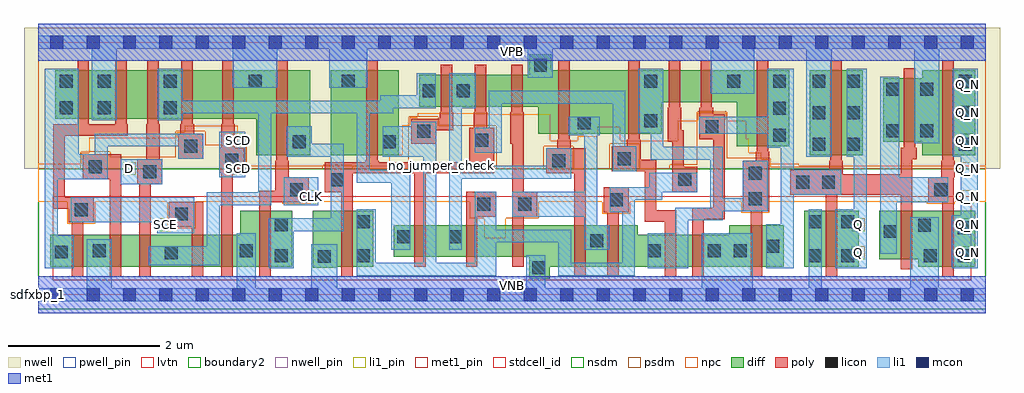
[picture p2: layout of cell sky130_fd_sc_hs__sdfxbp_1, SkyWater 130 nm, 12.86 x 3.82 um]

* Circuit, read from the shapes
.subckt sky130_fd_sc_hs__sdfxbp_1 CLK D Q Q_N SCD SCE VGND VNB VPB VPWR
XM1 VGND SCE n1 VNB sky130_fd_pr__nfet_01v8_lvt w=0.42 l=0.15
XM2 n2 n1 VGND VNB sky130_fd_pr__nfet_01v8_lvt w=0.42 l=0.15
XM3 n3 D n2 VNB sky130_fd_pr__nfet_01v8_lvt w=0.42 l=0.15
XM4 n4 SCE n3 VNB sky130_fd_pr__nfet_01v8_lvt w=0.42 l=0.15
XM5 VGND SCD n4 VNB sky130_fd_pr__nfet_01v8_lvt w=0.42 l=0.15
XM6 n5 CLK VGND VNB sky130_fd_pr__nfet_01v8_lvt w=0.74 l=0.15
XM7 n6 n5 VGND VNB sky130_fd_pr__nfet_01v8_lvt w=0.74 l=0.15
XM8 n7 n5 n3 VNB sky130_fd_pr__nfet_01v8_lvt w=0.42 l=0.15
XM9 n8 n6 n7 VNB sky130_fd_pr__nfet_01v8_lvt w=0.42 l=0.15
XM10 VGND n9 n8 VNB sky130_fd_pr__nfet_01v8_lvt w=0.42 l=0.15
XM11 n9 n7 VGND VNB sky130_fd_pr__nfet_01v8_lvt w=0.55 l=0.15
XM12 n10 n6 n9 VNB sky130_fd_pr__nfet_01v8_lvt w=0.55 l=0.15
XM13 n11 n5 n10 VNB sky130_fd_pr__nfet_01v8_lvt w=0.42 l=0.15
XM14 VGND n12 n11 VNB sky130_fd_pr__nfet_01v8_lvt w=0.42 l=0.15
XM15 n12 n10 VGND VNB sky130_fd_pr__nfet_01v8_lvt w=0.55 l=0.15
XM16 Q n12 VGND VNB sky130_fd_pr__nfet_01v8_lvt w=0.74 l=0.15
XM17 VGND n12 n13 VNB sky130_fd_pr__nfet_01v8_lvt w=0.64 l=0.15
XM18 Q_N n13 VGND VNB sky130_fd_pr__nfet_01v8_lvt w=0.74 l=0.15
XM19 VPWR SCE n1 VPB sky130_fd_pr__pfet_01v8 w=0.64 l=0.15
XM20 n14 SCE VPWR VPB sky130_fd_pr__pfet_01v8 w=0.64 l=0.15
XM21 n3 D n14 VPB sky130_fd_pr__pfet_01v8 w=0.64 l=0.15
XM22 n15 n1 n3 VPB sky130_fd_pr__pfet_01v8 w=0.64 l=0.15
XM23 VPWR SCD n15 VPB sky130_fd_pr__pfet_01v8 w=0.64 l=0.15
XM24 n5 CLK VPWR VPB sky130_fd_pr__pfet_01v8 w=1.12 l=0.15
XM25 n6 n5 VPWR VPB sky130_fd_pr__pfet_01v8 w=1.12 l=0.15
XM26 n7 n6 n3 VPB sky130_fd_pr__pfet_01v8 w=0.42 l=0.15
XM27 n16 n5 n7 VPB sky130_fd_pr__pfet_01v8 w=0.42 l=0.15
XM28 VPWR n9 n16 VPB sky130_fd_pr__pfet_01v8 w=0.42 l=0.15
XM29 n9 n7 VPWR VPB sky130_fd_pr__pfet_01v8 w=0.84 l=0.15
XM30 n10 n5 n9 VPB sky130_fd_pr__pfet_01v8 w=0.84 l=0.15
XM31 n17 n6 n10 VPB sky130_fd_pr__pfet_01v8 w=0.42 l=0.15
XM32 VPWR n12 n17 VPB sky130_fd_pr__pfet_01v8 w=0.42 l=0.15
XM33 n12 n10 VPWR VPB sky130_fd_pr__pfet_01v8 w=1 l=0.15
XM34 Q n12 VPWR VPB sky130_fd_pr__pfet_01v8 w=1.12 l=0.15
XM35 VPWR n12 n13 VPB sky130_fd_pr__pfet_01v8 w=0.84 l=0.15
XM36 Q_N n13 VPWR VPB sky130_fd_pr__pfet_01v8 w=1.12 l=0.15
.ends

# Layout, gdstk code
import gdstk
lib = gdstk.Library(unit=1e-6, precision=1e-09)
def R(c, l, rs):  # rectangles x0, y0, x1, y1
    for r in rs: c.add(gdstk.rectangle(r[:2], r[2:], *l))
def A(c, l, x, y, w, h, nx, ny, dx, dy):  # array of equal rectangles
    R(c, l, [(x+i*dx, y+j*dy, x+i*dx+w, y+j*dy+h) for i in range(nx) for j in range(ny)])
def P(c, l, *ps):  # polygons
    for p in ps: c.add(gdstk.Polygon(p, *l))
nwell_pin = (64, 16)
nwell = (64, 20)
diff = (65, 20)
poly = (66, 20)
licon = (66, 44)
li1_pin = (67, 16)
li1 = (67, 20)
mcon = (67, 44)
met1_pin = (68, 16)
met1 = (68, 20)
stdcell_id = (81, 4)
nsdm = (93, 44)
psdm = (94, 20)
npc = (95, 20)
pwell_pin = (122, 16)
lvtn = (125, 44)
boundary2 = (236, 0)

sky130_fd_sc_hs__sdfxbp_ = lib.new_cell('sky130_fd_sc_hs__sdfxbp_1')
R(sky130_fd_sc_hs__sdfxbp_, nwell_pin, [(0,3.085,12.48,3.33)])
R(sky130_fd_sc_hs__sdfxbp_, nwell, [(-0.19,1.66,12.67,3.52)])
R(sky130_fd_sc_hs__sdfxbp_, diff, [(10.09,0.37,10.81,1.11), (3.85,1.84,4.75,2.96), (10.16,1.84,10.86,2.96)])
P(sky130_fd_sc_hs__sdfxbp_, diff, [(3.345,1.11),(2.66,1.11),(2.66,0.79),(0.155,0.79),(0.155,0.37),(3.345,0.37)],
  [(3.58,2.96),(0.22,2.96),(0.22,2.32),(2.87,2.32),(2.87,1.84),(3.58,1.84)],
  [(4.41,1.11),(3.615,1.11),(3.615,0.36),(3.915,0.36),(3.915,0.37),(4.41,0.37)],
  [(9.82,0.92),(9.1,0.92),(9.1,0.79),(7.895,0.79),(7.895,0.92),(4.68,0.92),(4.68,0.5),(6.47,0.5),(6.47,0.21),(6.74,0.21),(6.74,0.37),(9.82,0.37)],
  [(9.89,2.96),(6.76,2.96),(6.76,3.17),(6.47,3.17),(6.47,2.9),(5.02,2.9),(5.02,2.48),(6.585,2.48),(6.585,2.12),(8.215,2.12),(8.215,2.54),(9.2,2.54),(9.2,1.96),(9.89,1.96)],
  [(12.345,2.96),(11.645,2.96),(11.645,2.855),(11.13,2.855),(11.13,2.015),(11.645,2.015),(11.645,1.84),(12.345,1.84)],
  [(12.345,1.11),(11.08,1.11),(11.08,0.47),(11.59,0.47),(11.59,0.37),(12.345,0.37)])
P(sky130_fd_sc_hs__sdfxbp_, poly, [(12.075,1.765),(12.06,1.765),(12.06,3.09),(11.91,3.09),(11.91,1.765),(11.895,1.765),(11.895,1.55),(11.725,1.55),(11.725,1.22),(11.91,1.22),(11.91,0.24),(12.06,0.24),(12.06,1.55),(12.075,1.55)],
  [(11.57,1.94),(11.555,1.94),(11.555,2.985),(11.405,2.985),(11.405,1.94),(11.365,1.94),(11.365,1.59),(10.6,1.59),(10.6,1.765),(10.585,1.765),(10.585,3.09),(10.435,3.09),(10.435,1.765),(10.42,1.765),(10.42,1.65),(9.905,1.65),(9.905,1.32),(10.375,1.32),(10.375,0.24),(10.525,0.24),(10.525,1.32),(11.365,1.32),(11.365,0.34),(11.515,0.34),(11.515,1.79),(11.57,1.79)],
  [(9.63,1.885),(9.615,1.885),(9.615,3.09),(9.465,3.09),(9.465,1.885),(9.45,1.885),(9.45,1.77),(9.28,1.77),(9.28,1.1),(9.385,1.1),(9.385,0.24),(9.535,0.24),(9.535,1.1),(9.63,1.1)],
  [(9.04,2.38),(8.89,2.38),(8.89,2.465),(8.875,2.465),(8.875,3.09),(8.725,3.09),(8.725,2.465),(8.71,2.465),(8.71,2.05),(8.89,2.05),(8.89,1.145),(8.615,1.145),(8.615,0.24),(8.765,0.24),(8.765,0.995),(9.04,0.995)],
  [(8.68,1.685),(8.5,1.685),(8.5,2.17),(8.47,2.17),(8.47,2.465),(8.455,2.465),(8.455,3.09),(8.305,3.09),(8.305,2.465),(8.29,2.465),(8.29,2.02),(8.35,2.02),(8.35,1.355),(8.68,1.355)],
  [(8.405,1.115),(8.14,1.115),(8.14,1.78),(7.935,1.78),(7.935,2.045),(7.92,2.045),(7.92,3.09),(7.77,3.09),(7.77,2.045),(7.755,2.045),(7.755,1.96),(7.555,1.96),(7.555,1.63),(7.99,1.63),(7.99,0.965),(8.255,0.965),(8.255,0.24),(8.405,0.24)],
  [(7.78,1.42),(7.45,1.42),(7.45,1.09),(7.495,1.09),(7.495,0.24),(7.645,0.24),(7.645,1.09),(7.78,1.09)],
  [(7.21,1.93),(7.015,1.93),(7.015,2.045),(7,2.045),(7,3.09),(6.85,3.09),(6.85,2.045),(6.835,2.045),(6.835,1.93),(6.69,1.93),(6.69,1.6),(7.06,1.6),(7.06,0.24),(7.21,0.24)],
  [(6.575,1.36),(6.395,1.36),(6.395,2.405),(6.38,2.405),(6.38,3.03),(6.23,3.03),(6.23,2.405),(6.215,2.405),(6.215,1.99),(6.245,1.99),(6.245,0.37),(6.395,0.37),(6.395,1.03),(6.575,1.03)],
  [(6.035,1.36),(5.635,1.36),(5.635,0.37),(5.785,0.37),(5.785,1.03),(6.035,1.03)],
  [(6.005,2.2),(5.915,2.2),(5.915,2.405),(5.9,2.405),(5.9,3.03),(5.75,3.03),(5.75,2.405),(5.735,2.405),(5.735,2.2),(5.675,2.2),(5.675,1.75),(4.485,1.75),(4.485,1.765),(4.47,1.765),(4.47,3.09),(4.32,3.09),(4.32,1.765),(4.305,1.765),(4.305,1.75),(3.775,1.75),(3.775,1.35),(3.99,1.35),(3.99,0.24),(4.14,0.24),(4.14,1.6),(4.955,1.6),(4.955,0.37),(5.105,0.37),(5.105,1.6),(6.005,1.6)],
  [(5.465,2.405),(5.45,2.405),(5.45,3.03),(5.3,3.03),(5.3,2.405),(5.285,2.405),(5.285,2.32),(4.91,2.32),(4.91,1.99),(5.24,1.99),(5.24,2.17),(5.465,2.17)],
  [(3.565,1.55),(3.3,1.55),(3.3,1.765),(3.285,1.765),(3.285,3.09),(3.135,3.09),(3.135,1.765),(3.12,1.765),(3.12,1.37),(2.91,1.37),(2.91,0.24),(3.06,0.24),(3.06,1.22),(3.565,1.22)],
  [(2.71,1.94),(2.59,1.94),(2.59,2.245),(2.575,2.245),(2.575,3.09),(2.425,3.09),(2.425,2.245),(2.41,2.245),(2.41,1.94),(2.38,1.94),(2.38,1.61),(2.41,1.61),(2.41,0.24),(2.56,0.24),(2.56,1.61),(2.71,1.61)],
  [(2.17,1.23),(1.72,1.23),(1.72,0.9),(2.02,0.9),(2.02,0.24),(2.17,0.24)],
  [(2.17,2.125),(2.05,2.125),(2.05,2.245),(2.035,2.245),(2.035,3.09),(1.885,3.09),(1.885,2.245),(1.87,2.245),(1.87,2.125),(1.84,2.125),(1.84,1.795),(2.17,1.795)],
  [(1.63,1.785),(1.6,1.785),(1.6,2.245),(1.585,2.245),(1.585,3.09),(1.435,3.09),(1.435,2.245),(1.42,2.245),(1.42,1.785),(1.3,1.785),(1.3,1.455),(1.33,1.455),(1.33,0.24),(1.48,0.24),(1.48,1.455),(1.63,1.455)],
  [(1.18,2.245),(1.165,2.245),(1.165,3.09),(1.015,3.09),(1.015,2.245),(0.665,2.245),(0.665,3.09),(0.515,3.09),(0.515,2.245),(0.195,2.245),(0.195,1.135),(0.4,1.135),(0.4,0.955),(0.44,0.955),(0.44,0.24),(0.59,0.24),(0.59,0.955),(0.73,0.955),(0.73,1.285),(0.345,1.285),(0.345,2.095),(1.18,2.095)],
  [(1.09,1.855),(0.585,1.855),(0.585,1.525),(0.94,1.525),(0.94,0.24),(1.09,0.24)])
A(sky130_fd_sc_hs__sdfxbp_, licon, 10.2, 1.9, 0.17, 0.17, 1, 3, 0, 0.415)
A(sky130_fd_sc_hs__sdfxbp_, licon, 10.65, 1.9, 0.17, 0.17, 1, 3, 0, 0.415)
A(sky130_fd_sc_hs__sdfxbp_, licon, 12.125, 1.9, 0.17, 0.17, 1, 3, 0, 0.415)
A(sky130_fd_sc_hs__sdfxbp_, licon, 9.68, 2.02, 0.17, 0.17, 1, 3, 0, 0.355)
R(sky130_fd_sc_hs__sdfxbp_, licon, [(6.51,0.27,6.68,0.44), (3.68,0.42,3.85,0.59), (3.115,0.43,3.285,0.6), (4.195,0.43,4.365,0.6), (10.15,0.43,10.32,0.6), (10.58,0.43,10.75,0.6), (11.665,0.43,11.835,0.6), (12.115,0.43,12.285,0.6), (1.665,0.47,1.835,0.64), (0.215,0.48,0.385,0.65), (0.715,0.495,0.885,0.665), (2.655,0.495,2.825,0.665), (8.03,0.495,8.2,0.665), (8.82,0.495,8.99,0.665), (9.16,0.495,9.33,0.665), (9.59,0.555,9.76,0.725), (7.27,0.63,7.44,0.8), (4.73,0.68,4.9,0.85), (5.41,0.68,5.58,0.85), (11.14,0.75,11.31,0.92), (12.115,0.8,12.285,0.97), (11.59,0.83,11.76,1), (3.115,0.84,3.285,1.01), (4.195,0.88,4.365,1.05), (10.15,0.88,10.32,1.05), (10.58,0.88,10.75,1.05), (1.8,0.98,1.97,1.15), (0.48,1.035,0.65,1.205), (5.785,1.11,5.955,1.28), (6.325,1.11,6.495,1.28), (7.53,1.17,7.7,1.34), (9.36,1.18,9.53,1.35), (3.315,1.3,3.485,1.47), (11.805,1.3,11.975,1.47), (9.985,1.4,10.155,1.57), (10.325,1.4,10.495,1.57), (3.855,1.43,4.025,1.6), (8.43,1.435,8.6,1.605), (9.36,1.52,9.53,1.69), (1.38,1.535,1.55,1.705), (0.665,1.605,0.835,1.775), (6.77,1.68,6.94,1.85), (2.46,1.69,2.63,1.86), (7.635,1.71,7.805,1.88), (1.92,1.875,2.09,2.045), (3.35,1.935,3.52,2.105), (4.535,1.935,4.705,2.105), (5.755,1.95,5.925,2.12), (4.99,2.07,5.16,2.24), (11.17,2.075,11.34,2.245), (11.62,2.075,11.79,2.245), (8.79,2.13,8.96,2.3), (7.105,2.18,7.275,2.35), (7.985,2.21,8.155,2.38), (0.28,2.38,0.45,2.55), (0.78,2.38,0.95,2.55), (1.65,2.38,1.82,2.55), (5.065,2.605,5.235,2.775), (5.515,2.605,5.685,2.775), (11.17,2.625,11.34,2.795), (11.62,2.625,11.79,2.795), (0.28,2.73,0.45,2.9), (0.78,2.73,0.95,2.9), (1.65,2.73,1.82,2.9), (2.77,2.73,2.94,2.9), (3.995,2.73,4.165,2.9), (7.985,2.73,8.155,2.9), (9.075,2.73,9.245,2.9), (6.53,2.94,6.7,3.11)])
A(sky130_fd_sc_hs__sdfxbp_, li1_pin, 12.155, 0.47, 0.17, 0.17, 1, 7, 0, 0.37)
R(sky130_fd_sc_hs__sdfxbp_, li1_pin, [(10.715,0.47,10.885,0.64), (1.595,0.84,1.765,1.01), (10.715,0.84,10.885,1.01), (3.515,1.21,3.685,1.38), (1.115,1.58,1.285,1.75), (2.555,1.58,2.725,1.75), (2.555,1.95,2.725,2.12)])
R(sky130_fd_sc_hs__sdfxbp_, li1, [(3.235,1.18,3.685,1.55), (1.085,1.455,1.63,1.785), (2.38,1.55,2.725,2.15)])
P(sky130_fd_sc_hs__sdfxbp_, li1, [(0,-0.085),(0,0.085),(0.635,0.085),(0.635,0.73),(0.965,0.73),(0.965,0.085),(2.615,0.085),(2.615,0.81),(2.865,0.81),(2.865,0.085),(3.595,0.085),(3.595,0.67),(3.935,0.67),(3.935,0.085),(6.43,0.085),(6.43,0.52),(6.68,0.52),(6.68,0.085),(8.74,0.085),(8.74,0.81),(9.41,0.81),(9.41,0.085),(10.15,0.085),(10.15,1.13),(10.32,1.13),(10.32,0.085),(11.49,0.085),(11.49,1.02),(11.865,1.02),(11.865,0.085),(12.48,0.085),(12.48,-0.085)],
  [(0,3.245),(0,3.415),(12.48,3.415),(12.48,3.245),(11.87,3.245),(11.87,1.995),(11.54,1.995),(11.54,3.245),(10.45,3.245),(10.45,1.82),(10.12,1.82),(10.12,3.245),(9.43,3.245),(9.43,2.65),(8.86,2.65),(8.86,3.245),(6.78,3.245),(6.78,2.86),(6.45,2.86),(6.45,3.245),(4.335,3.245),(4.335,2.73),(3.83,2.73),(3.83,3.245),(3.15,3.245),(3.15,2.73),(2.56,2.73),(2.56,3.245),(1.03,3.245),(1.03,2.3),(0.7,2.3),(0.7,3.245)],
  [(12.045,1.82),(12.045,2.98),(12.375,2.98),(12.375,0.35),(12.035,0.35),(12.035,1.05),(12.155,1.05),(12.155,1.82)],
  [(10.5,0.35),(10.5,1.13),(10.745,1.13),(10.745,1.82),(10.65,1.82),(10.65,2.98),(10.915,2.98),(10.915,0.35)],
  [(0.425,0.955),(0.425,1.285),(2.05,1.285),(2.05,0.81),(1.565,0.81),(1.565,0.955)],
  [(11.09,2.875),(11.34,2.875),(11.34,1.55),(11.985,1.55),(11.985,1.22),(11.31,1.22),(11.31,0.54),(11.09,0.54)],
  [(7.19,1.36),(7.19,2.1),(6.985,2.1),(6.985,2.35),(7.395,2.35),(7.395,2.1),(7.36,2.1),(7.36,0.92),(7.52,0.92),(7.52,0.595),(7.19,0.595),(7.19,1.03),(6.245,1.03),(6.245,1.36)],
  [(9.95,1.65),(10.575,1.65),(10.575,1.32),(9.95,1.32),(9.95,0.35),(9.59,0.35),(9.59,0.93),(9.78,0.93),(9.78,1.94),(9.6,1.94),(9.6,2.12),(8.71,2.12),(8.71,2.35),(9.6,2.35),(9.6,2.98),(9.95,2.98)],
  [(5.58,2.46),(5.58,1.7),(6.69,1.7),(6.69,1.93),(7.02,1.93),(7.02,1.53),(5.58,1.53),(5.58,0.595),(5.41,0.595),(5.41,2.92),(5.765,2.92),(5.765,2.46)],
  [(1.9,2.56),(4.505,2.56),(4.505,2.63),(4.985,2.63),(4.985,2.92),(5.235,2.92),(5.235,2.46),(4.675,2.46),(4.675,2.39),(4.365,2.39),(4.365,1.65),(4.9,1.65),(4.9,0.595),(4.65,0.595),(4.65,1.48),(4.195,1.48),(4.195,2.39),(3.065,2.39),(3.065,1.18),(2.39,1.18),(2.39,0.39),(1.455,0.39),(1.455,0.64),(2.22,0.64),(2.22,1.35),(2.895,1.35),(2.895,2.39),(1.9,2.39),(1.9,2.3),(1.57,2.3),(1.57,2.98),(1.9,2.98)],
  [(8.39,0.81),(8.39,1.15),(8.85,1.15),(8.85,1.78),(8.065,1.78),(8.065,2.13),(7.905,2.13),(7.905,2.98),(8.235,2.98),(8.235,1.95),(9.02,1.95),(9.02,1.27),(9.28,1.27),(9.28,1.77),(9.61,1.77),(9.61,1.1),(9.02,1.1),(9.02,0.98),(8.56,0.98),(8.56,0.35),(8.03,0.35),(8.03,0.81)],
  [(3.855,1.01),(3.855,1.82),(3.27,1.82),(3.27,2.22),(3.6,2.22),(3.6,1.99),(4.025,1.99),(4.025,0.84),(3.365,0.84),(3.365,0.35),(3.035,0.35),(3.035,1.01)],
  [(6.85,0.255),(6.85,0.69),(6.035,0.69),(6.035,0.255),(4.195,0.255),(4.195,1.13),(4.445,1.13),(4.445,0.425),(5.07,0.425),(5.07,1.82),(4.535,1.82),(4.535,2.22),(4.91,2.22),(4.91,2.28),(5.24,2.28),(5.24,0.425),(5.75,0.425),(5.75,1.36),(6.035,1.36),(6.035,0.86),(7.02,0.86),(7.02,0.425),(7.69,0.425),(7.69,1.09),(7.53,1.09),(7.53,1.42),(8.05,1.42),(8.05,1.61),(8.68,1.61),(8.68,1.355),(8.22,1.355),(8.22,1.25),(7.86,1.25),(7.86,0.255)],
  [(0.085,0.35),(0.085,2.98),(0.53,2.98),(0.53,1.855),(0.745,1.855),(0.745,2.125),(2.17,2.125),(2.17,1.795),(1.84,1.795),(1.84,1.955),(0.915,1.955),(0.915,1.525),(0.255,1.525),(0.255,0.785),(0.465,0.785),(0.465,0.35)],
  [(7.735,2.69),(7.735,1.96),(7.88,1.96),(7.88,1.63),(7.565,1.63),(7.565,2.52),(6.105,2.52),(6.105,1.87),(5.75,1.87),(5.75,2.2),(5.935,2.2),(5.935,2.69)])
A(sky130_fd_sc_hs__sdfxbp_, mcon, 0.155, -0.085, 0.17, 0.17, 26, 2, 0.48, 3.33)
R(sky130_fd_sc_hs__sdfxbp_, met1_pin, [(0,0,12.48,0.245), (0,3.085,12.48,3.33)])
R(sky130_fd_sc_hs__sdfxbp_, met1, [(0,-0.245,12.48,0.245), (0,3.085,12.48,3.575)])
R(sky130_fd_sc_hs__sdfxbp_, stdcell_id, [(0,0,12.48,3.33)])
R(sky130_fd_sc_hs__sdfxbp_, nsdm, [(0,-0.19,12.48,1.66)])
P(sky130_fd_sc_hs__sdfxbp_, psdm, [(12.48,3.52),(0,3.52),(0,1.66),(0.555,1.66),(0.555,1.885),(0.945,1.885),(0.945,1.815),(1.81,1.815),(1.81,2.155),(2.2,2.155),(2.2,1.97),(2.74,1.97),(2.74,1.66),(3.745,1.66),(3.745,1.71),(4.135,1.71),(4.135,1.66),(4.88,1.66),(4.88,2.35),(5.27,2.35),(5.27,2.23),(6.035,2.23),(6.035,1.66),(6.66,1.66),(6.66,1.96),(7.05,1.96),(7.05,1.66),(7.525,1.66),(7.525,1.99),(7.915,1.99),(7.915,1.66),(8.32,1.66),(8.32,1.715),(8.68,1.715),(8.68,2.41),(9.07,2.41),(9.07,1.8),(9.64,1.8),(9.64,1.68),(10.605,1.68),(10.605,1.66),(12.48,1.66)])
P(sky130_fd_sc_hs__sdfxbp_, npc, [(12.48,1.7),(10.02,1.7),(10.02,1.73),(9.63,1.73),(9.63,1.79),(9.525,1.79),(9.525,1.87),(9.36,1.87),(9.36,2.055),(9.325,2.055),(9.325,2.295),(9.06,2.295),(9.06,2.4),(8.69,2.4),(8.69,2.295),(8.425,2.295),(8.425,2.03),(7.665,2.03),(7.665,2.215),(7.365,2.215),(7.365,2.09),(7.105,2.09),(7.105,2.03),(6.745,2.03),(6.745,2.38),(5.92,2.38),(5.92,2.39),(4.995,2.39),(4.995,2.34),(4.89,2.34),(4.89,2.235),(4.795,2.235),(4.795,1.845),(4.625,1.845),(4.625,1.7),(2.73,1.7),(2.73,1.96),(2.625,1.96),(2.625,2.225),(1.925,2.225),(1.925,2.145),(1.82,2.145),(1.82,2.07),(0.67,2.07),(0.67,1.875),(0.565,1.875),(0.565,1.73),(0,1.73),(0,1.23),(0.38,1.23),(0.38,0.935),(0.75,0.935),(0.75,1.23),(1.7,1.23),(1.7,0.88),(2.07,0.88),(2.07,1.23),(3.215,1.23),(3.215,1.2),(3.585,1.2),(3.585,1.23),(5.685,1.23),(5.685,1.01),(5.875,1.01),(5.875,0.745),(6.155,0.745),(6.155,1.01),(6.595,1.01),(6.595,1.23),(7.43,1.23),(7.43,1.07),(7.8,1.07),(7.8,1.23),(9.26,1.23),(9.26,1.08),(9.63,1.08),(9.63,1.23),(11.705,1.23),(11.705,1.2),(12.075,1.2),(12.075,1.23),(12.48,1.23)])
R(sky130_fd_sc_hs__sdfxbp_, pwell_pin, [(0,0,12.48,0.245)])
R(sky130_fd_sc_hs__sdfxbp_, lvtn, [(0.19,0.19,12.29,1.3)])
R(sky130_fd_sc_hs__sdfxbp_, boundary2, [(0,0,12.48,3.33)])
sky130_fd_sc_hs__sdfxbp_.add(gdstk.Label('sdfxbp_1', (0,0), layer=83, texttype=44))
sky130_fd_sc_hs__sdfxbp_.add(gdstk.Label('no_jumper_check', (5.305,1.705), layer=83, texttype=44))
sky130_fd_sc_hs__sdfxbp_.add(gdstk.Label('VNB', (6.24,0.123), layer=64, texttype=59))
sky130_fd_sc_hs__sdfxbp_.add(gdstk.Label('VPB', (6.24,3.208), layer=64, texttype=5))
sky130_fd_sc_hs__sdfxbp_.add(gdstk.Label('VPWR', (6.24,3.208), layer=68, texttype=5))
sky130_fd_sc_hs__sdfxbp_.add(gdstk.Label('VGND', (6.24,0.123), layer=68, texttype=5))
sky130_fd_sc_hs__sdfxbp_.add(gdstk.Label('Q_N', (12.24,0.555), layer=67, texttype=5))
sky130_fd_sc_hs__sdfxbp_.add(gdstk.Label('Q_N', (12.24,0.925), layer=67, texttype=5))
sky130_fd_sc_hs__sdfxbp_.add(gdstk.Label('Q_N', (12.24,1.295), layer=67, texttype=5))
sky130_fd_sc_hs__sdfxbp_.add(gdstk.Label('Q_N', (12.24,1.665), layer=67, texttype=5))
sky130_fd_sc_hs__sdfxbp_.add(gdstk.Label('Q_N', (12.24,2.035), layer=67, texttype=5))
sky130_fd_sc_hs__sdfxbp_.add(gdstk.Label('Q_N', (12.24,2.405), layer=67, texttype=5))
sky130_fd_sc_hs__sdfxbp_.add(gdstk.Label('Q_N', (12.24,2.775), layer=67, texttype=5))
sky130_fd_sc_hs__sdfxbp_.add(gdstk.Label('Q', (10.8,0.555), layer=67, texttype=5))
sky130_fd_sc_hs__sdfxbp_.add(gdstk.Label('Q', (10.8,0.925), layer=67, texttype=5))
sky130_fd_sc_hs__sdfxbp_.add(gdstk.Label('CLK', (3.6,1.295), layer=67, texttype=5))
sky130_fd_sc_hs__sdfxbp_.add(gdstk.Label('D', (1.2,1.665), layer=67, texttype=5))
sky130_fd_sc_hs__sdfxbp_.add(gdstk.Label('SCE', (1.68,0.925), layer=67, texttype=5))
sky130_fd_sc_hs__sdfxbp_.add(gdstk.Label('SCD', (2.64,1.665), layer=67, texttype=5))
sky130_fd_sc_hs__sdfxbp_.add(gdstk.Label('SCD', (2.64,2.035), layer=67, texttype=5))

lib.write_gds('sky130_fd_sc_hs__sdfxbp_1.gds')
